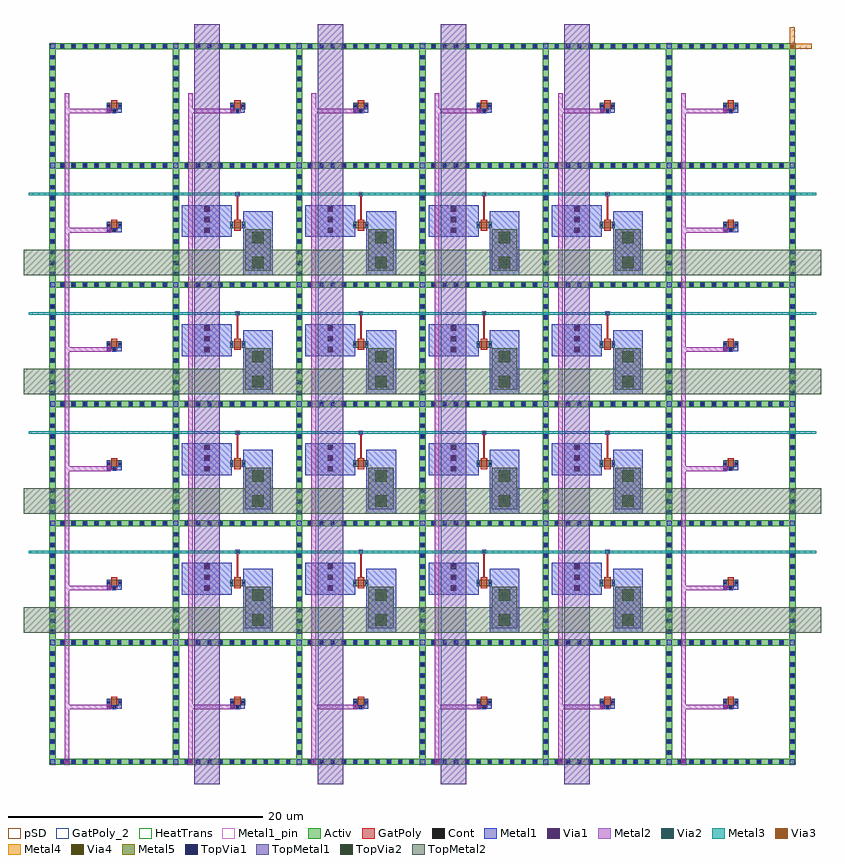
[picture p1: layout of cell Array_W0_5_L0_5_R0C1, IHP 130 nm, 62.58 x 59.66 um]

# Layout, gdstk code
import gdstk
lib = gdstk.Library(unit=1e-6, precision=1e-09)
def R(c, l, rs):  # rectangles x0, y0, x1, y1
    for r in rs: c.add(gdstk.rectangle(r[:2], r[2:], *l))
def A(c, l, x, y, w, h, nx, ny, dx, dy):  # array of equal rectangles
    R(c, l, [(x+i*dx, y+j*dy, x+i*dx+w, y+j*dy+h) for i in range(nx) for j in range(ny)])
Activ = (1, 0)
GatPoly = (5, 0)
GatPoly_2 = (5, 2)
Cont = (6, 0)
Metal1 = (8, 0)
Metal1_pin = (8, 2)
Metal2 = (10, 0)
pSD = (14, 0)
Via1 = (19, 0)
Via2 = (29, 0)
Metal3 = (30, 0)
Via3 = (49, 0)
Metal4 = (50, 0)
HeatTrans = (51, 0)
Via4 = (66, 0)
Metal5 = (67, 0)
TopVia1 = (125, 0)
TopMetal1 = (126, 0)
TopVia2 = (133, 0)
TopMetal2 = (134, 0)

array_w0_5_l0_5_r0c1 = lib.new_cell('Array_W0_5_L0_5_R0C1')
A(array_w0_5_l0_5_r0c1, Activ, 0, 0, 0.5, 56.66, 7, 1, 9.68, 0)
A(array_w0_5_l0_5_r0c1, Activ, 0, 0, 58.58, 0.5, 1, 7, 0, 9.36)
A(array_w0_5_l0_5_r0c1, Activ, 4.5, 4.68, 0.3, 0.3, 1, 6, 0, 9.36)
A(array_w0_5_l0_5_r0c1, Activ, 4.5, 4.68, 1.18, 0.5, 6, 6, 9.68, 9.36)
A(array_w0_5_l0_5_r0c1, Activ, 5.38, 4.68, 0.3, 0.3, 1, 6, 0, 9.36)
A(array_w0_5_l0_5_r0c1, Activ, 14.18, 4.68, 0.3, 0.3, 1, 6, 0, 9.36)
A(array_w0_5_l0_5_r0c1, Activ, 15.06, 4.68, 0.3, 0.3, 1, 6, 0, 9.36)
A(array_w0_5_l0_5_r0c1, Activ, 23.86, 4.68, 0.3, 0.3, 1, 6, 0, 9.36)
A(array_w0_5_l0_5_r0c1, Activ, 24.74, 4.68, 0.3, 0.3, 1, 6, 0, 9.36)
A(array_w0_5_l0_5_r0c1, Activ, 33.54, 4.68, 0.3, 0.3, 1, 6, 0, 9.36)
A(array_w0_5_l0_5_r0c1, Activ, 34.42, 4.68, 0.3, 0.3, 1, 6, 0, 9.36)
A(array_w0_5_l0_5_r0c1, Activ, 43.22, 4.68, 0.3, 0.3, 1, 6, 0, 9.36)
A(array_w0_5_l0_5_r0c1, Activ, 44.1, 4.68, 0.3, 0.3, 1, 6, 0, 9.36)
A(array_w0_5_l0_5_r0c1, Activ, 52.9, 4.68, 0.3, 0.3, 1, 6, 0, 9.36)
A(array_w0_5_l0_5_r0c1, Activ, 53.78, 4.68, 0.3, 0.3, 1, 6, 0, 9.36)
A(array_w0_5_l0_5_r0c1, GatPoly, 4.84, 4.5, 0.5, 0.86, 6, 6, 9.68, 9.36)
A(array_w0_5_l0_5_r0c1, GatPoly, 5.025, 4.53, 0.13, 0.2, 6, 2, 9.68, 46.8)
A(array_w0_5_l0_5_r0c1, GatPoly, 5.025, 13.89, 0.13, 0.2, 1, 4, 0, 9.36)
A(array_w0_5_l0_5_r0c1, GatPoly, 53.425, 13.89, 0.13, 0.2, 1, 4, 0, 9.36)
A(array_w0_5_l0_5_r0c1, GatPoly, 14.705, 14.72, 0.13, 2, 4, 4, 9.68, 9.36)
A(array_w0_5_l0_5_r0c1, GatPoly_2, 4.84, 4.5, 0.5, 0.86, 6, 6, 9.68, 9.36)
A(array_w0_5_l0_5_r0c1, Cont, 0.896, 0.14, 0.22, 0.22, 10, 7, 0.896, 9.36)
A(array_w0_5_l0_5_r0c1, Cont, 10.68, 0.14, 0.22, 0.22, 3, 7, 0.884, 9.36)
A(array_w0_5_l0_5_r0c1, Cont, 13.333, 0.14, 0.22, 0.22, 1, 7, 0, 9.36)
A(array_w0_5_l0_5_r0c1, Cont, 14.217, 0.14, 0.22, 0.22, 1, 7, 0, 9.36)
A(array_w0_5_l0_5_r0c1, Cont, 15.102, 0.14, 0.22, 0.22, 1, 7, 0, 9.36)
A(array_w0_5_l0_5_r0c1, Cont, 15.986, 0.14, 0.22, 0.22, 1, 7, 0, 9.36)
A(array_w0_5_l0_5_r0c1, Cont, 16.871, 0.14, 0.22, 0.22, 1, 7, 0, 9.36)
A(array_w0_5_l0_5_r0c1, Cont, 17.755, 0.14, 0.22, 0.22, 1, 7, 0, 9.36)
A(array_w0_5_l0_5_r0c1, Cont, 18.64, 0.14, 0.22, 0.22, 1, 7, 0, 9.36)
A(array_w0_5_l0_5_r0c1, Cont, 20.36, 0.14, 0.22, 0.22, 3, 7, 0.884, 9.36)
A(array_w0_5_l0_5_r0c1, Cont, 23.013, 0.14, 0.22, 0.22, 1, 7, 0, 9.36)
A(array_w0_5_l0_5_r0c1, Cont, 23.897, 0.14, 0.22, 0.22, 1, 7, 0, 9.36)
A(array_w0_5_l0_5_r0c1, Cont, 24.782, 0.14, 0.22, 0.22, 1, 7, 0, 9.36)
A(array_w0_5_l0_5_r0c1, Cont, 25.666, 0.14, 0.22, 0.22, 1, 7, 0, 9.36)
A(array_w0_5_l0_5_r0c1, Cont, 26.551, 0.14, 0.22, 0.22, 1, 7, 0, 9.36)
A(array_w0_5_l0_5_r0c1, Cont, 27.435, 0.14, 0.22, 0.22, 1, 7, 0, 9.36)
A(array_w0_5_l0_5_r0c1, Cont, 28.32, 0.14, 0.22, 0.22, 1, 7, 0, 9.36)
A(array_w0_5_l0_5_r0c1, Cont, 30.04, 0.14, 0.22, 0.22, 3, 7, 0.884, 9.36)
A(array_w0_5_l0_5_r0c1, Cont, 32.693, 0.14, 0.22, 0.22, 1, 7, 0, 9.36)
A(array_w0_5_l0_5_r0c1, Cont, 33.577, 0.14, 0.22, 0.22, 1, 7, 0, 9.36)
A(array_w0_5_l0_5_r0c1, Cont, 34.462, 0.14, 0.22, 0.22, 1, 7, 0, 9.36)
A(array_w0_5_l0_5_r0c1, Cont, 35.346, 0.14, 0.22, 0.22, 1, 7, 0, 9.36)
A(array_w0_5_l0_5_r0c1, Cont, 36.231, 0.14, 0.22, 0.22, 1, 7, 0, 9.36)
A(array_w0_5_l0_5_r0c1, Cont, 37.115, 0.14, 0.22, 0.22, 1, 7, 0, 9.36)
A(array_w0_5_l0_5_r0c1, Cont, 38, 0.14, 0.22, 0.22, 1, 7, 0, 9.36)
A(array_w0_5_l0_5_r0c1, Cont, 39.72, 0.14, 0.22, 0.22, 3, 7, 0.884, 9.36)
A(array_w0_5_l0_5_r0c1, Cont, 42.373, 0.14, 0.22, 0.22, 1, 7, 0, 9.36)
A(array_w0_5_l0_5_r0c1, Cont, 43.257, 0.14, 0.22, 0.22, 1, 7, 0, 9.36)
A(array_w0_5_l0_5_r0c1, Cont, 44.142, 0.14, 0.22, 0.22, 1, 7, 0, 9.36)
A(array_w0_5_l0_5_r0c1, Cont, 45.026, 0.14, 0.22, 0.22, 1, 7, 0, 9.36)
A(array_w0_5_l0_5_r0c1, Cont, 45.911, 0.14, 0.22, 0.22, 1, 7, 0, 9.36)
A(array_w0_5_l0_5_r0c1, Cont, 46.795, 0.14, 0.22, 0.22, 1, 7, 0, 9.36)
A(array_w0_5_l0_5_r0c1, Cont, 47.68, 0.14, 0.22, 0.22, 1, 7, 0, 9.36)
A(array_w0_5_l0_5_r0c1, Cont, 49.4, 0.14, 0.22, 0.22, 3, 7, 0.884, 9.36)
A(array_w0_5_l0_5_r0c1, Cont, 52.053, 0.14, 0.22, 0.22, 1, 7, 0, 9.36)
A(array_w0_5_l0_5_r0c1, Cont, 52.937, 0.14, 0.22, 0.22, 1, 7, 0, 9.36)
A(array_w0_5_l0_5_r0c1, Cont, 53.822, 0.14, 0.22, 0.22, 1, 7, 0, 9.36)
A(array_w0_5_l0_5_r0c1, Cont, 54.706, 0.14, 0.22, 0.22, 1, 7, 0, 9.36)
A(array_w0_5_l0_5_r0c1, Cont, 55.591, 0.14, 0.22, 0.22, 1, 7, 0, 9.36)
A(array_w0_5_l0_5_r0c1, Cont, 56.475, 0.14, 0.22, 0.22, 1, 7, 0, 9.36)
A(array_w0_5_l0_5_r0c1, Cont, 57.36, 0.14, 0.22, 0.22, 1, 7, 0, 9.36)
A(array_w0_5_l0_5_r0c1, Cont, 0.14, 0.864, 0.22, 0.22, 7, 10, 9.68, 0.864)
A(array_w0_5_l0_5_r0c1, Cont, 4.98, 4.42, 0.22, 0.22, 6, 2, 9.68, 46.8)
A(array_w0_5_l0_5_r0c1, Cont, 4.57, 4.85, 0.16, 0.16, 1, 6, 0, 9.36)
A(array_w0_5_l0_5_r0c1, Cont, 5.45, 4.85, 0.16, 0.16, 1, 6, 0, 9.36)
A(array_w0_5_l0_5_r0c1, Cont, 14.25, 4.85, 0.16, 0.16, 1, 6, 0, 9.36)
A(array_w0_5_l0_5_r0c1, Cont, 15.13, 4.85, 0.16, 0.16, 1, 6, 0, 9.36)
A(array_w0_5_l0_5_r0c1, Cont, 23.93, 4.85, 0.16, 0.16, 1, 6, 0, 9.36)
A(array_w0_5_l0_5_r0c1, Cont, 24.81, 4.85, 0.16, 0.16, 1, 6, 0, 9.36)
A(array_w0_5_l0_5_r0c1, Cont, 33.61, 4.85, 0.16, 0.16, 1, 6, 0, 9.36)
A(array_w0_5_l0_5_r0c1, Cont, 34.49, 4.85, 0.16, 0.16, 1, 6, 0, 9.36)
A(array_w0_5_l0_5_r0c1, Cont, 43.29, 4.85, 0.16, 0.16, 1, 6, 0, 9.36)
A(array_w0_5_l0_5_r0c1, Cont, 44.17, 4.85, 0.16, 0.16, 1, 6, 0, 9.36)
A(array_w0_5_l0_5_r0c1, Cont, 52.97, 4.85, 0.16, 0.16, 1, 6, 0, 9.36)
A(array_w0_5_l0_5_r0c1, Cont, 53.85, 4.85, 0.16, 0.16, 1, 6, 0, 9.36)
A(array_w0_5_l0_5_r0c1, Cont, 0.14, 10.36, 0.22, 0.22, 7, 2, 9.68, 0.848)
A(array_w0_5_l0_5_r0c1, Cont, 0.14, 12.057, 0.22, 0.22, 7, 8, 9.68, 0.849)
A(array_w0_5_l0_5_r0c1, Cont, 4.98, 13.78, 0.22, 0.22, 1, 4, 0, 9.36)
A(array_w0_5_l0_5_r0c1, Cont, 53.38, 13.78, 0.22, 0.22, 1, 4, 0, 9.36)
A(array_w0_5_l0_5_r0c1, Cont, 14.66, 16.61, 0.22, 0.22, 4, 4, 9.68, 9.36)
A(array_w0_5_l0_5_r0c1, Cont, 0.14, 19.72, 0.22, 0.22, 7, 2, 9.68, 0.848)
A(array_w0_5_l0_5_r0c1, Cont, 0.14, 21.417, 0.22, 0.22, 7, 8, 9.68, 0.849)
A(array_w0_5_l0_5_r0c1, Cont, 0.14, 29.08, 0.22, 0.22, 7, 2, 9.68, 0.848)
A(array_w0_5_l0_5_r0c1, Cont, 0.14, 30.777, 0.22, 0.22, 7, 8, 9.68, 0.849)
A(array_w0_5_l0_5_r0c1, Cont, 0.14, 38.44, 0.22, 0.22, 7, 2, 9.68, 0.848)
A(array_w0_5_l0_5_r0c1, Cont, 0.14, 40.137, 0.22, 0.22, 7, 8, 9.68, 0.849)
A(array_w0_5_l0_5_r0c1, Cont, 0.14, 47.8, 0.22, 0.22, 7, 2, 9.68, 0.848)
A(array_w0_5_l0_5_r0c1, Cont, 0.14, 49.497, 0.22, 0.22, 7, 8, 9.68, 0.849)
A(array_w0_5_l0_5_r0c1, Metal1, 0.836, 0.08, 0.34, 0.34, 10, 7, 0.896, 9.36)
A(array_w0_5_l0_5_r0c1, Metal1, 10.62, 0.08, 0.34, 0.34, 3, 7, 0.884, 9.36)
A(array_w0_5_l0_5_r0c1, Metal1, 13.273, 0.08, 0.34, 0.34, 1, 7, 0, 9.36)
A(array_w0_5_l0_5_r0c1, Metal1, 14.157, 0.08, 0.34, 0.34, 1, 7, 0, 9.36)
A(array_w0_5_l0_5_r0c1, Metal1, 15.042, 0.08, 0.34, 0.34, 1, 7, 0, 9.36)
A(array_w0_5_l0_5_r0c1, Metal1, 15.926, 0.08, 0.34, 0.34, 1, 7, 0, 9.36)
A(array_w0_5_l0_5_r0c1, Metal1, 16.811, 0.08, 0.34, 0.34, 1, 7, 0, 9.36)
A(array_w0_5_l0_5_r0c1, Metal1, 17.695, 0.08, 0.34, 0.34, 1, 7, 0, 9.36)
A(array_w0_5_l0_5_r0c1, Metal1, 18.58, 0.08, 0.34, 0.34, 1, 7, 0, 9.36)
A(array_w0_5_l0_5_r0c1, Metal1, 20.3, 0.08, 0.34, 0.34, 3, 7, 0.884, 9.36)
A(array_w0_5_l0_5_r0c1, Metal1, 22.953, 0.08, 0.34, 0.34, 1, 7, 0, 9.36)
A(array_w0_5_l0_5_r0c1, Metal1, 23.837, 0.08, 0.34, 0.34, 1, 7, 0, 9.36)
A(array_w0_5_l0_5_r0c1, Metal1, 24.722, 0.08, 0.34, 0.34, 1, 7, 0, 9.36)
A(array_w0_5_l0_5_r0c1, Metal1, 25.606, 0.08, 0.34, 0.34, 1, 7, 0, 9.36)
A(array_w0_5_l0_5_r0c1, Metal1, 26.491, 0.08, 0.34, 0.34, 1, 7, 0, 9.36)
A(array_w0_5_l0_5_r0c1, Metal1, 27.375, 0.08, 0.34, 0.34, 1, 7, 0, 9.36)
A(array_w0_5_l0_5_r0c1, Metal1, 28.26, 0.08, 0.34, 0.34, 1, 7, 0, 9.36)
A(array_w0_5_l0_5_r0c1, Metal1, 29.98, 0.08, 0.34, 0.34, 3, 7, 0.884, 9.36)
A(array_w0_5_l0_5_r0c1, Metal1, 32.633, 0.08, 0.34, 0.34, 1, 7, 0, 9.36)
A(array_w0_5_l0_5_r0c1, Metal1, 33.517, 0.08, 0.34, 0.34, 1, 7, 0, 9.36)
A(array_w0_5_l0_5_r0c1, Metal1, 34.402, 0.08, 0.34, 0.34, 1, 7, 0, 9.36)
A(array_w0_5_l0_5_r0c1, Metal1, 35.286, 0.08, 0.34, 0.34, 1, 7, 0, 9.36)
A(array_w0_5_l0_5_r0c1, Metal1, 36.171, 0.08, 0.34, 0.34, 1, 7, 0, 9.36)
A(array_w0_5_l0_5_r0c1, Metal1, 37.055, 0.08, 0.34, 0.34, 1, 7, 0, 9.36)
A(array_w0_5_l0_5_r0c1, Metal1, 37.94, 0.08, 0.34, 0.34, 1, 7, 0, 9.36)
A(array_w0_5_l0_5_r0c1, Metal1, 39.66, 0.08, 0.34, 0.34, 3, 7, 0.884, 9.36)
A(array_w0_5_l0_5_r0c1, Metal1, 42.313, 0.08, 0.34, 0.34, 1, 7, 0, 9.36)
A(array_w0_5_l0_5_r0c1, Metal1, 43.197, 0.08, 0.34, 0.34, 1, 7, 0, 9.36)
A(array_w0_5_l0_5_r0c1, Metal1, 44.082, 0.08, 0.34, 0.34, 1, 7, 0, 9.36)
A(array_w0_5_l0_5_r0c1, Metal1, 44.966, 0.08, 0.34, 0.34, 1, 7, 0, 9.36)
A(array_w0_5_l0_5_r0c1, Metal1, 45.851, 0.08, 0.34, 0.34, 1, 7, 0, 9.36)
A(array_w0_5_l0_5_r0c1, Metal1, 46.735, 0.08, 0.34, 0.34, 1, 7, 0, 9.36)
A(array_w0_5_l0_5_r0c1, Metal1, 47.62, 0.08, 0.34, 0.34, 1, 7, 0, 9.36)
A(array_w0_5_l0_5_r0c1, Metal1, 49.34, 0.08, 0.34, 0.34, 3, 7, 0.884, 9.36)
A(array_w0_5_l0_5_r0c1, Metal1, 51.993, 0.08, 0.34, 0.34, 1, 7, 0, 9.36)
A(array_w0_5_l0_5_r0c1, Metal1, 52.877, 0.08, 0.34, 0.34, 1, 7, 0, 9.36)
A(array_w0_5_l0_5_r0c1, Metal1, 53.762, 0.08, 0.34, 0.34, 1, 7, 0, 9.36)
A(array_w0_5_l0_5_r0c1, Metal1, 54.646, 0.08, 0.34, 0.34, 1, 7, 0, 9.36)
A(array_w0_5_l0_5_r0c1, Metal1, 55.531, 0.08, 0.34, 0.34, 1, 7, 0, 9.36)
A(array_w0_5_l0_5_r0c1, Metal1, 56.415, 0.08, 0.34, 0.34, 1, 7, 0, 9.36)
A(array_w0_5_l0_5_r0c1, Metal1, 57.3, 0.08, 0.34, 0.34, 1, 7, 0, 9.36)
A(array_w0_5_l0_5_r0c1, Metal1, 0.08, 0.804, 0.34, 0.34, 7, 10, 9.68, 0.864)
A(array_w0_5_l0_5_r0c1, Metal1, 4.92, 4.36, 0.34, 0.34, 6, 2, 9.68, 46.8)
A(array_w0_5_l0_5_r0c1, Metal1, 4.51, 4.39, 0.28, 0.68, 1, 6, 0, 9.36)
A(array_w0_5_l0_5_r0c1, Metal1, 4.51, 4.39, 1.16, 0.28, 6, 2, 9.68, 46.8)
A(array_w0_5_l0_5_r0c1, Metal1, 5.39, 4.39, 0.28, 0.68, 1, 6, 0, 9.36)
A(array_w0_5_l0_5_r0c1, Metal1, 52.91, 4.39, 0.28, 0.68, 1, 6, 0, 9.36)
A(array_w0_5_l0_5_r0c1, Metal1, 53.79, 4.39, 0.28, 0.68, 1, 6, 0, 9.36)
A(array_w0_5_l0_5_r0c1, Metal1, 4.57, 4.68, 0.16, 0.5, 1, 6, 0, 9.36)
A(array_w0_5_l0_5_r0c1, Metal1, 5.45, 4.68, 0.16, 0.5, 1, 6, 0, 9.36)
A(array_w0_5_l0_5_r0c1, Metal1, 14.25, 4.68, 0.16, 0.5, 1, 6, 0, 9.36)
A(array_w0_5_l0_5_r0c1, Metal1, 15.13, 4.68, 0.16, 0.5, 1, 6, 0, 9.36)
A(array_w0_5_l0_5_r0c1, Metal1, 23.93, 4.68, 0.16, 0.5, 1, 6, 0, 9.36)
A(array_w0_5_l0_5_r0c1, Metal1, 24.81, 4.68, 0.16, 0.5, 1, 6, 0, 9.36)
A(array_w0_5_l0_5_r0c1, Metal1, 33.61, 4.68, 0.16, 0.5, 1, 6, 0, 9.36)
A(array_w0_5_l0_5_r0c1, Metal1, 34.49, 4.68, 0.16, 0.5, 1, 6, 0, 9.36)
A(array_w0_5_l0_5_r0c1, Metal1, 43.29, 4.68, 0.16, 0.5, 1, 6, 0, 9.36)
A(array_w0_5_l0_5_r0c1, Metal1, 44.17, 4.68, 0.16, 0.5, 1, 6, 0, 9.36)
A(array_w0_5_l0_5_r0c1, Metal1, 52.97, 4.68, 0.16, 0.5, 1, 6, 0, 9.36)
A(array_w0_5_l0_5_r0c1, Metal1, 53.85, 4.68, 0.16, 0.5, 1, 6, 0, 9.36)
A(array_w0_5_l0_5_r0c1, Metal1, 0.05, 9.41, 0.4, 0.4, 7, 6, 9.68, 9.36)
A(array_w0_5_l0_5_r0c1, Metal1, 0.08, 10.3, 0.34, 0.34, 7, 2, 9.68, 0.848)
A(array_w0_5_l0_5_r0c1, Metal1, 15.21, 10.36, 2.32, 5.02, 4, 4, 9.68, 9.36)
A(array_w0_5_l0_5_r0c1, Metal1, 0.08, 11.997, 0.34, 0.34, 7, 8, 9.68, 0.849)
A(array_w0_5_l0_5_r0c1, Metal1, 10.41, 13.371, 3.92, 2.499, 4, 4, 9.68, 9.36)
A(array_w0_5_l0_5_r0c1, Metal1, 4.92, 13.72, 0.34, 0.34, 1, 4, 0, 9.36)
A(array_w0_5_l0_5_r0c1, Metal1, 53.32, 13.72, 0.34, 0.34, 1, 4, 0, 9.36)
A(array_w0_5_l0_5_r0c1, Metal1, 4.51, 13.75, 1.16, 0.28, 1, 4, 0, 9.36)
A(array_w0_5_l0_5_r0c1, Metal1, 52.91, 13.75, 1.16, 0.28, 1, 4, 0, 9.36)
A(array_w0_5_l0_5_r0c1, Metal1, 14.61, 16.56, 0.32, 0.32, 4, 4, 9.68, 9.36)
A(array_w0_5_l0_5_r0c1, Metal1, 0.08, 19.66, 0.34, 0.34, 7, 2, 9.68, 0.848)
A(array_w0_5_l0_5_r0c1, Metal1, 0.08, 21.357, 0.34, 0.34, 7, 8, 9.68, 0.849)
A(array_w0_5_l0_5_r0c1, Metal1, 0.08, 29.02, 0.34, 0.34, 7, 2, 9.68, 0.848)
A(array_w0_5_l0_5_r0c1, Metal1, 0.08, 30.717, 0.34, 0.34, 7, 8, 9.68, 0.849)
A(array_w0_5_l0_5_r0c1, Metal1, 0.08, 38.38, 0.34, 0.34, 7, 2, 9.68, 0.848)
A(array_w0_5_l0_5_r0c1, Metal1, 0.08, 40.077, 0.34, 0.34, 7, 8, 9.68, 0.849)
A(array_w0_5_l0_5_r0c1, Metal1, 0.08, 47.74, 0.34, 0.34, 7, 2, 9.68, 0.848)
A(array_w0_5_l0_5_r0c1, Metal1, 0.08, 49.437, 0.34, 0.34, 7, 8, 9.68, 0.849)
R(array_w0_5_l0_5_r0c1, Metal1, [(0.05,0.05,0.45,0.45), (1.19,0.05,1.59,0.45), (9.73,0.05,10.13,0.45), (10.87,0.05,11.27,0.45), (19.41,0.05,19.81,0.45), (20.55,0.05,20.95,0.45), (29.09,0.05,29.49,0.45), (30.23,0.05,30.63,0.45), (38.77,0.05,39.17,0.45), (39.91,0.05,40.31,0.45), (48.45,0.05,48.85,0.45), (49.59,0.05,49.99,0.45), (58.13,0.05,58.53,0.45), (14.19,4.39,14.47,5.07), (15.07,4.39,15.35,5.07), (23.87,4.39,24.15,5.07), (24.75,4.39,25.03,5.07), (33.55,4.39,33.83,5.07), (34.43,4.39,34.71,5.07), (43.23,4.39,43.51,5.07), (44.11,4.39,44.39,5.07), (14.19,51.19,14.47,51.87), (15.07,51.19,15.35,51.87), (23.87,51.19,24.15,51.87), (24.75,51.19,25.03,51.87), (33.55,51.19,33.83,51.87), (34.43,51.19,34.71,51.87), (43.23,51.19,43.51,51.87), (44.11,51.19,44.39,51.87)])
A(array_w0_5_l0_5_r0c1, Metal1_pin, 4.57, 4.68, 0.16, 0.5, 1, 6, 0, 9.36)
A(array_w0_5_l0_5_r0c1, Metal1_pin, 5.45, 4.68, 0.16, 0.5, 1, 6, 0, 9.36)
A(array_w0_5_l0_5_r0c1, Metal1_pin, 14.25, 4.68, 0.16, 0.5, 1, 6, 0, 9.36)
A(array_w0_5_l0_5_r0c1, Metal1_pin, 15.13, 4.68, 0.16, 0.5, 1, 6, 0, 9.36)
A(array_w0_5_l0_5_r0c1, Metal1_pin, 23.93, 4.68, 0.16, 0.5, 1, 6, 0, 9.36)
A(array_w0_5_l0_5_r0c1, Metal1_pin, 24.81, 4.68, 0.16, 0.5, 1, 6, 0, 9.36)
A(array_w0_5_l0_5_r0c1, Metal1_pin, 33.61, 4.68, 0.16, 0.5, 1, 6, 0, 9.36)
A(array_w0_5_l0_5_r0c1, Metal1_pin, 34.49, 4.68, 0.16, 0.5, 1, 6, 0, 9.36)
A(array_w0_5_l0_5_r0c1, Metal1_pin, 43.29, 4.68, 0.16, 0.5, 1, 6, 0, 9.36)
A(array_w0_5_l0_5_r0c1, Metal1_pin, 44.17, 4.68, 0.16, 0.5, 1, 6, 0, 9.36)
A(array_w0_5_l0_5_r0c1, Metal1_pin, 52.97, 4.68, 0.16, 0.5, 1, 6, 0, 9.36)
A(array_w0_5_l0_5_r0c1, Metal1_pin, 53.85, 4.68, 0.16, 0.5, 1, 6, 0, 9.36)
A(array_w0_5_l0_5_r0c1, Metal2, 1.21, 0.07, 0.36, 52.66, 6, 1, 9.68, 0)
A(array_w0_5_l0_5_r0c1, Metal2, 1.21, 4.35, 3.62, 0.36, 6, 2, 9.68, 46.8)
A(array_w0_5_l0_5_r0c1, Metal2, 16.215, 11.205, 0.31, 0.31, 4, 2, 9.68, 1.96)
A(array_w0_5_l0_5_r0c1, Metal2, 1.21, 13.71, 3.62, 0.36, 1, 4, 0, 9.36)
A(array_w0_5_l0_5_r0c1, Metal2, 49.61, 13.71, 3.62, 0.36, 1, 4, 0, 9.36)
A(array_w0_5_l0_5_r0c1, Metal2, 12.215, 13.735, 0.31, 0.31, 4, 3, 9.68, 0.84)
A(array_w0_5_l0_5_r0c1, Metal2, 14.625, 16.575, 0.29, 0.29, 4, 4, 9.68, 9.36)
A(array_w0_5_l0_5_r0c1, Metal2, 16.215, 20.565, 0.31, 0.31, 4, 2, 9.68, 1.96)
A(array_w0_5_l0_5_r0c1, Metal2, 12.215, 23.095, 0.31, 0.31, 4, 3, 9.68, 0.84)
A(array_w0_5_l0_5_r0c1, Metal2, 16.215, 29.925, 0.31, 0.31, 4, 2, 9.68, 1.96)
A(array_w0_5_l0_5_r0c1, Metal2, 12.215, 32.455, 0.31, 0.31, 4, 3, 9.68, 0.84)
A(array_w0_5_l0_5_r0c1, Metal2, 16.215, 39.285, 0.31, 0.31, 4, 2, 9.68, 1.96)
A(array_w0_5_l0_5_r0c1, Metal2, 12.215, 41.815, 0.31, 0.31, 4, 3, 9.68, 0.84)
R(array_w0_5_l0_5_r0c1, Metal2, [(58.15,56.23,58.51,56.59)])
A(array_w0_5_l0_5_r0c1, pSD, 0, 0, 0.5, 56.66, 7, 1, 9.68, 0)
A(array_w0_5_l0_5_r0c1, pSD, 0, 0, 58.58, 0.5, 1, 7, 0, 9.36)
A(array_w0_5_l0_5_r0c1, Via1, 1.295, 0.155, 0.19, 0.19, 6, 1, 9.68, 0)
A(array_w0_5_l0_5_r0c1, Via1, 4.555, 4.435, 0.19, 0.19, 6, 2, 9.68, 46.8)
A(array_w0_5_l0_5_r0c1, Via1, 16.275, 11.265, 0.19, 0.19, 4, 2, 9.68, 1.96)
A(array_w0_5_l0_5_r0c1, Via1, 4.555, 13.795, 0.19, 0.19, 1, 4, 0, 9.36)
A(array_w0_5_l0_5_r0c1, Via1, 12.275, 13.795, 0.19, 0.19, 4, 3, 9.68, 0.84)
A(array_w0_5_l0_5_r0c1, Via1, 52.955, 13.795, 0.19, 0.19, 1, 4, 0, 9.36)
A(array_w0_5_l0_5_r0c1, Via1, 14.675, 16.625, 0.19, 0.19, 4, 4, 9.68, 9.36)
A(array_w0_5_l0_5_r0c1, Via1, 16.275, 20.625, 0.19, 0.19, 4, 2, 9.68, 1.96)
A(array_w0_5_l0_5_r0c1, Via1, 12.275, 23.155, 0.19, 0.19, 4, 3, 9.68, 0.84)
A(array_w0_5_l0_5_r0c1, Via1, 16.275, 29.985, 0.19, 0.19, 4, 2, 9.68, 1.96)
A(array_w0_5_l0_5_r0c1, Via1, 12.275, 32.515, 0.19, 0.19, 4, 3, 9.68, 0.84)
A(array_w0_5_l0_5_r0c1, Via1, 16.275, 39.345, 0.19, 0.19, 4, 2, 9.68, 1.96)
A(array_w0_5_l0_5_r0c1, Via1, 12.275, 41.875, 0.19, 0.19, 4, 3, 9.68, 0.84)
R(array_w0_5_l0_5_r0c1, Via1, [(58.235,56.315,58.425,56.505)])
A(array_w0_5_l0_5_r0c1, Via2, 16.275, 11.265, 0.19, 0.19, 4, 2, 9.68, 1.96)
A(array_w0_5_l0_5_r0c1, Via2, 12.275, 13.795, 0.19, 0.19, 4, 3, 9.68, 0.84)
A(array_w0_5_l0_5_r0c1, Via2, 14.675, 16.625, 0.19, 0.19, 4, 4, 9.68, 9.36)
A(array_w0_5_l0_5_r0c1, Via2, 16.275, 20.625, 0.19, 0.19, 4, 2, 9.68, 1.96)
A(array_w0_5_l0_5_r0c1, Via2, 12.275, 23.155, 0.19, 0.19, 4, 3, 9.68, 0.84)
A(array_w0_5_l0_5_r0c1, Via2, 16.275, 29.985, 0.19, 0.19, 4, 2, 9.68, 1.96)
A(array_w0_5_l0_5_r0c1, Via2, 12.275, 32.515, 0.19, 0.19, 4, 3, 9.68, 0.84)
A(array_w0_5_l0_5_r0c1, Via2, 16.275, 39.345, 0.19, 0.19, 4, 2, 9.68, 1.96)
A(array_w0_5_l0_5_r0c1, Via2, 12.275, 41.875, 0.19, 0.19, 4, 3, 9.68, 0.84)
R(array_w0_5_l0_5_r0c1, Via2, [(58.235,56.315,58.425,56.505)])
A(array_w0_5_l0_5_r0c1, Metal3, 16.215, 11.205, 0.31, 0.31, 4, 2, 9.68, 1.96)
A(array_w0_5_l0_5_r0c1, Metal3, 12.215, 13.735, 0.31, 0.31, 4, 3, 9.68, 0.84)
A(array_w0_5_l0_5_r0c1, Metal3, -1.6, 16.62, 61.78, 0.2, 1, 4, 0, 9.36)
A(array_w0_5_l0_5_r0c1, Metal3, 14.67, 16.62, 0.2, 0.2, 4, 4, 9.68, 9.36)
A(array_w0_5_l0_5_r0c1, Metal3, 16.215, 20.565, 0.31, 0.31, 4, 2, 9.68, 1.96)
A(array_w0_5_l0_5_r0c1, Metal3, 12.215, 23.095, 0.31, 0.31, 4, 3, 9.68, 0.84)
A(array_w0_5_l0_5_r0c1, Metal3, 16.215, 29.925, 0.31, 0.31, 4, 2, 9.68, 1.96)
A(array_w0_5_l0_5_r0c1, Metal3, 12.215, 32.455, 0.31, 0.31, 4, 3, 9.68, 0.84)
A(array_w0_5_l0_5_r0c1, Metal3, 16.215, 39.285, 0.31, 0.31, 4, 2, 9.68, 1.96)
A(array_w0_5_l0_5_r0c1, Metal3, 12.215, 41.815, 0.31, 0.31, 4, 3, 9.68, 0.84)
R(array_w0_5_l0_5_r0c1, Metal3, [(58.23,56.31,58.43,56.51)])
A(array_w0_5_l0_5_r0c1, Via3, 16.275, 11.265, 0.19, 0.19, 4, 2, 9.68, 1.96)
A(array_w0_5_l0_5_r0c1, Via3, 12.275, 13.795, 0.19, 0.19, 4, 3, 9.68, 0.84)
A(array_w0_5_l0_5_r0c1, Via3, 16.275, 20.625, 0.19, 0.19, 4, 2, 9.68, 1.96)
A(array_w0_5_l0_5_r0c1, Via3, 12.275, 23.155, 0.19, 0.19, 4, 3, 9.68, 0.84)
A(array_w0_5_l0_5_r0c1, Via3, 16.275, 29.985, 0.19, 0.19, 4, 2, 9.68, 1.96)
A(array_w0_5_l0_5_r0c1, Via3, 12.275, 32.515, 0.19, 0.19, 4, 3, 9.68, 0.84)
A(array_w0_5_l0_5_r0c1, Via3, 16.275, 39.345, 0.19, 0.19, 4, 2, 9.68, 1.96)
A(array_w0_5_l0_5_r0c1, Via3, 12.275, 41.875, 0.19, 0.19, 4, 3, 9.68, 0.84)
R(array_w0_5_l0_5_r0c1, Via3, [(58.235,56.315,58.425,56.505)])
A(array_w0_5_l0_5_r0c1, Metal4, 16.215, 11.205, 0.31, 0.31, 4, 2, 9.68, 1.96)
A(array_w0_5_l0_5_r0c1, Metal4, 12.215, 13.735, 0.31, 0.31, 4, 3, 9.68, 0.84)
A(array_w0_5_l0_5_r0c1, Metal4, 16.215, 20.565, 0.31, 0.31, 4, 2, 9.68, 1.96)
A(array_w0_5_l0_5_r0c1, Metal4, 12.215, 23.095, 0.31, 0.31, 4, 3, 9.68, 0.84)
A(array_w0_5_l0_5_r0c1, Metal4, 16.215, 29.925, 0.31, 0.31, 4, 2, 9.68, 1.96)
A(array_w0_5_l0_5_r0c1, Metal4, 12.215, 32.455, 0.31, 0.31, 4, 3, 9.68, 0.84)
A(array_w0_5_l0_5_r0c1, Metal4, 16.215, 39.285, 0.31, 0.31, 4, 2, 9.68, 1.96)
A(array_w0_5_l0_5_r0c1, Metal4, 12.215, 41.815, 0.31, 0.31, 4, 3, 9.68, 0.84)
R(array_w0_5_l0_5_r0c1, Metal4, [(58.13,56.21,59.83,56.61), (58.13,56.21,58.53,57.91)])
A(array_w0_5_l0_5_r0c1, HeatTrans, 4.84, 4.5, 0.5, 0.86, 6, 6, 9.68, 9.36)
A(array_w0_5_l0_5_r0c1, Via4, 16.275, 11.265, 0.19, 0.19, 4, 2, 9.68, 1.96)
A(array_w0_5_l0_5_r0c1, Via4, 12.275, 13.795, 0.19, 0.19, 4, 3, 9.68, 0.84)
A(array_w0_5_l0_5_r0c1, Via4, 16.275, 20.625, 0.19, 0.19, 4, 2, 9.68, 1.96)
A(array_w0_5_l0_5_r0c1, Via4, 12.275, 23.155, 0.19, 0.19, 4, 3, 9.68, 0.84)
A(array_w0_5_l0_5_r0c1, Via4, 16.275, 29.985, 0.19, 0.19, 4, 2, 9.68, 1.96)
A(array_w0_5_l0_5_r0c1, Via4, 12.275, 32.515, 0.19, 0.19, 4, 3, 9.68, 0.84)
A(array_w0_5_l0_5_r0c1, Via4, 16.275, 39.345, 0.19, 0.19, 4, 2, 9.68, 1.96)
A(array_w0_5_l0_5_r0c1, Via4, 12.275, 41.875, 0.19, 0.19, 4, 3, 9.68, 0.84)
A(array_w0_5_l0_5_r0c1, Metal5, 16.215, 11.205, 0.31, 0.31, 4, 2, 9.68, 1.96)
A(array_w0_5_l0_5_r0c1, Metal5, 12.215, 13.735, 0.31, 0.31, 4, 3, 9.68, 0.84)
A(array_w0_5_l0_5_r0c1, Metal5, 16.215, 20.565, 0.31, 0.31, 4, 2, 9.68, 1.96)
A(array_w0_5_l0_5_r0c1, Metal5, 12.215, 23.095, 0.31, 0.31, 4, 3, 9.68, 0.84)
A(array_w0_5_l0_5_r0c1, Metal5, 16.215, 29.925, 0.31, 0.31, 4, 2, 9.68, 1.96)
A(array_w0_5_l0_5_r0c1, Metal5, 12.215, 32.455, 0.31, 0.31, 4, 3, 9.68, 0.84)
A(array_w0_5_l0_5_r0c1, Metal5, 16.215, 39.285, 0.31, 0.31, 4, 2, 9.68, 1.96)
A(array_w0_5_l0_5_r0c1, Metal5, 12.215, 41.815, 0.31, 0.31, 4, 3, 9.68, 0.84)
A(array_w0_5_l0_5_r0c1, TopVia1, 16.16, 11.15, 0.42, 0.42, 4, 2, 9.68, 1.96)
A(array_w0_5_l0_5_r0c1, TopVia1, 12.16, 13.68, 0.42, 0.42, 4, 3, 9.68, 0.84)
A(array_w0_5_l0_5_r0c1, TopVia1, 16.16, 20.51, 0.42, 0.42, 4, 2, 9.68, 1.96)
A(array_w0_5_l0_5_r0c1, TopVia1, 12.16, 23.04, 0.42, 0.42, 4, 3, 9.68, 0.84)
A(array_w0_5_l0_5_r0c1, TopVia1, 16.16, 29.87, 0.42, 0.42, 4, 2, 9.68, 1.96)
A(array_w0_5_l0_5_r0c1, TopVia1, 12.16, 32.4, 0.42, 0.42, 4, 3, 9.68, 0.84)
A(array_w0_5_l0_5_r0c1, TopVia1, 16.16, 39.23, 0.42, 0.42, 4, 2, 9.68, 1.96)
A(array_w0_5_l0_5_r0c1, TopVia1, 12.16, 41.76, 0.42, 0.42, 4, 3, 9.68, 0.84)
A(array_w0_5_l0_5_r0c1, TopMetal1, 11.37, -1.5, 2, 59.66, 4, 1, 9.68, 0)
A(array_w0_5_l0_5_r0c1, TopMetal1, 15.37, 10.71, 2, 3.26, 4, 4, 9.68, 9.36)
A(array_w0_5_l0_5_r0c1, TopMetal1, 11.37, 13.58, 2, 2.3, 4, 4, 9.68, 9.36)
A(array_w0_5_l0_5_r0c1, TopVia2, 15.92, 10.91, 0.9, 0.9, 4, 2, 9.68, 1.96)
A(array_w0_5_l0_5_r0c1, TopVia2, 15.92, 20.27, 0.9, 0.9, 4, 2, 9.68, 1.96)
A(array_w0_5_l0_5_r0c1, TopVia2, 15.92, 29.63, 0.9, 0.9, 4, 2, 9.68, 1.96)
A(array_w0_5_l0_5_r0c1, TopVia2, 15.92, 38.99, 0.9, 0.9, 4, 2, 9.68, 1.96)
A(array_w0_5_l0_5_r0c1, TopMetal2, -2, 10.36, 62.58, 2, 1, 4, 0, 9.36)
A(array_w0_5_l0_5_r0c1, TopMetal2, 15.37, 10.71, 2, 3.26, 4, 4, 9.68, 9.36)

lib.write_gds('Array_W0_5_L0_5_R0C1.gds')
